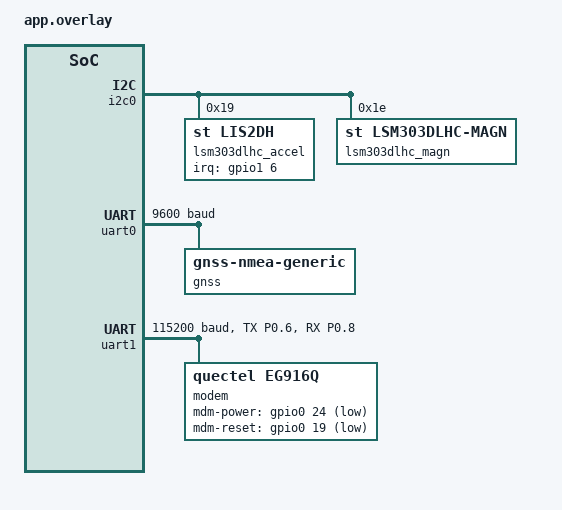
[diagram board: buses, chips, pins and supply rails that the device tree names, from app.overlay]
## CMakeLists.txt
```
# SPDX-License-Identifier: Apache-2.0

cmake_minimum_required(VERSION 3.20.0)

# Devicetree bindings for out-of-tree compatibles (quectel,eg916q) live
# under dts/bindings/ in this module. Must be set before find_package.
list(APPEND DTS_ROOT ${CMAKE_CURRENT_SOURCE_DIR})

find_package(Zephyr REQUIRED HINTS $ENV{ZEPHYR_BASE})
project(car_tracker CXX)

target_sources(app PRIVATE
  src/main.cpp
  src/channels.cpp
  src/tasks/ble_task.cpp
  src/tasks/gps_task.cpp
  src/tasks/supervisor_task.cpp
  src/services/selftest.cpp
  src/services/fw_update.cpp
)

# gps_task.cpp counts a GGA/RMC line as proof the GPS link is alive before the
# driver parses it (a receiver with no time/fix never reaches the gnss data
# callback). The wrap redirects the in-tree driver's match table to those hooks.
zephyr_ld_options(
  -Wl,--wrap=gnss_nmea0183_match_gga_callback
  -Wl,--wrap=gnss_nmea0183_match_rmc_callback
)

# fw_update.cpp calls bootutil's boot_set_next() to mark the inactive A/B slot
# pending; the library target also carries the bootutil/ include path.
if(CONFIG_MCUBOOT_BOOTUTIL_LIB)
  target_link_libraries(app PRIVATE MCUBOOT_BOOTUTIL)
endif()

# Out-of-tree EG916Q-GL modem driver. Compiled straight into the app target
# (rather than as a separate zephyr_library()) -- a plain add_subdirectory()
# from the app's own CMakeLists.txt does not reliably register a library
# into Zephyr's global whole-archive link list, so DEVICE_DT_INST_DEFINE's
# device struct silently never reached the final image. target_sources(app)
# is guaranteed to link, same as every other conditional source below.
if(CONFIG_MODEM_QUECTEL_EG916Q)
  target_sources(app PRIVATE drivers/modem/quectel_eg916q.c)
endif()

# Out-of-tree L3GD20 gyroscope driver, same compile-into-app pattern and for
# the same reason as the modem driver above. CONFIG_L3GD20 is only ever set
# when a devicetree node with compatible "st,l3gd20" exists AND CONFIG_SENSOR
# is on (see drivers/sensor/l3gd20/Kconfig). The GPS-only build leaves
# CONFIG_SENSOR off, so it never gets this driver.
if(CONFIG_L3GD20)
  target_sources(app PRIVATE drivers/sensor/l3gd20/l3gd20.c)
endif()

# IMU task (bench probe); needs the sensor drivers, so only with CONFIG_SENSOR.
if(CONFIG_SENSOR)
  target_sources(app PRIVATE src/tasks/imu_task.cpp src/services/spectrum.cpp)
endif()

# Idle sleep (System OFF, wake on the accelerometer interrupt).
if(CONFIG_CAR_TRACKER_IDLE_SLEEP)
  target_sources(app PRIVATE src/tasks/power_task.cpp)
endif()

# Cellular telemetry is compiled out entirely for the GPS-only bring-up build.
if(NOT CONFIG_CAR_TRACKER_GPS_ONLY)
  target_sources(app PRIVATE
    src/tasks/cellular_task.cpp
    src/services/modem_link.cpp
  )
endif()
```

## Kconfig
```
# Config options for the car_tracker application

mainmenu "Car GPS anti-theft tracker"

config CAR_TRACKER_GPS_ONLY
	bool "GPS-only bring-up test"
	default n
	help
	  Builds main() to just initialize GPS and log fixes to the console --
	  no cellular modem or MQTT code is compiled in at all. Use this for
	  hardware bring-up while only the NEO-6M is wired up, before the
	  cellular modem is connected. Flip back to n for the full tracker.

config CAR_TRACKER_BLE_TELEMETRY
	bool "Expose GPS speed and vibration frequency as GATT characteristics"
	default n
	depends on BT_PERIPHERAL
	select BT_SMP
	select BT_FIXED_PASSKEY
	help
	  Adds a custom GATT service with two read/notify characteristics: GPS
	  speed and the accelerometer's dominant vibration frequency (see
	  ble_task.cpp for the encoding).

	  SECURITY: speed is derived position data. Advertising is unauthenticated
	  broadcast and never carries it. These characteristics instead require an
	  authenticated, encrypted link (passkey pairing, below), for reads and for
	  notification subscription alike, so a stranger who merely connects
	  cannot read them. This relaxes the project's "no speed over BLE" rule
	  only as far as that protection holds -- it is only as strong as the
	  passkey is secret.

config CAR_TRACKER_BLE_PASSKEY
	int "Fixed pairing passkey (0-999999)"
	range 0 999999
	default 123456
	depends on CAR_TRACKER_BLE_TELEMETRY
	help
	  The 6-digit code a phone must be given to pair. A fixed value because
	  the device has no display or keypad. PLACEHOLDER: this default sits in
	  source control, so change it (and move it out of the repo) before the
	  device leaves the bench -- anyone who knows it can pair. It is never
	  logged.

config CAR_TRACKER_APP_LOGS
	bool "Log from the application's own modules"
	default y
	help
	  When disabled, every ct_* log module is compiled at level NONE, so
	  only other log sources (e.g. the thread analyzer) remain. Does not
	  affect Zephyr subsystems; set CONFIG_LOG_DEFAULT_LEVEL for those.

config CAR_TRACKER_IDLE_SLEEP
	bool "Enter System OFF after a period with no IMU motion"
	default n
	depends on SENSOR && HAS_POWEROFF
	select POWEROFF
	help
	  After kIdleSleepMs (app_config.hpp) without an
	  accelerometer motion interrupt, quiesce the peripherals and put the
	  nRF52840 into System OFF. The only wake source is the accelerometer's
	  INT1 line (P1.06); a wake is a full reboot through MCUboot. The device
	  refuses to sleep unless that wake source has been verified quiet and
	  armed, so a dead or unwired IMU can never leave it asleep for good.

	  Disable this while debugging: sleeping drops the USB console and the
	  SWD debug session along with everything else.

config CAR_TRACKER_MQTT_BROKER_HOSTNAME
	string "MQTT broker hostname or IP"
	default "mqtt3.thingspeak.com"
	help
	  ThingSpeak's MQTT broker. Port 1883 (plaintext) is also offered, but
	  TLS is used here regardless (see CAR_TRACKER_MQTT_BROKER_PORT).

config CAR_TRACKER_MQTT_BROKER_PORT
	int "MQTT broker port"
	default 8883
	help
	  8883 = MQTT over TLS. ThingSpeak also offers plaintext MQTT on 1883,
	  but a car tracker's location/telemetry data should never go out
	  unencrypted, so this stays on 8883 regardless of what the broker
	  permits.

config CAR_TRACKER_MQTT_USERNAME
	string "MQTT username"
	default "CHANGE_ME"
	help
	  ThingSpeak MQTT device credential. Required -- most brokers
	  (including ThingSpeak) reject CONNECT packets with no username/
	  password. PLACEHOLDER: set the real value via a local, non-committed
	  config overlay, not this default.

config CAR_TRACKER_MQTT_PASSWORD
	string "MQTT password"
	default "CHANGE_ME"
	help
	  ThingSpeak MQTT device credential (its API "MQTT Password"), paired
	  with CAR_TRACKER_MQTT_USERNAME above. PLACEHOLDER: set the real value
	  via a local, non-committed config overlay -- never put the live
	  credential in this Kconfig default, since it lives in source control.

config CAR_TRACKER_MQTT_CLIENT_ID
	string "MQTT client id"
	default "CHANGE_ME"
	help
	  ThingSpeak ties each MQTT device credential to a specific Client ID
	  (shown alongside the username/password in the ThingSpeak MQTT API
	  device settings) -- CONNECT is rejected if this doesn't match
	  exactly, regardless of whether the username/password are correct.

config CAR_TRACKER_MQTT_TOPIC
	string "MQTT publish topic"
	default "channels/3518381/publish"
	help
	  ThingSpeak's channel-write topic: "channels/<channel id>/publish".
	  The payload format ThingSpeak expects on this topic (field1=...&
	  field2=...&...) is built in cellular_task.cpp, not here -- this is
	  only the MQTT-level destination.

rsource "drivers/modem/Kconfig"

source "Kconfig.zephyr"

# Deliberately AFTER Kconfig.zephyr, unlike the modem driver above. This
# driver's `select I2C/SPI if $(dt_compat_on_bus,$(DT_COMPAT_ST_L3GD20),...)`
# uses a $(...) macro, which Kconfig expands eagerly at parse time, and
# DT_COMPAT_ST_L3GD20 is only defined once Kconfig.zephyr has pulled in the
# generated Kconfig.dts. Sourced any earlier, the variable is empty, the
# condition is silently false, CONFIG_SPI/CONFIG_I2C never get selected by
# this driver, and a node on a bus nothing else enabled fails at link time
# with an undefined __device_dts_ord_N for the bus controller. (Plain symbol
# references such as `depends on DT_HAS_..._ENABLED` resolve lazily and are
# unaffected -- only the $(...) form has this ordering requirement.)
rsource "drivers/sensor/l3gd20/Kconfig"
```

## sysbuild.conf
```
# Sysbuild: build MCUboot alongside the app as an A/B (direct-XIP) bootloader.
# See ../proMicro_bootloader/PLAN.md. Bootloader details live in
# ../proMicro_bootloader/mcuboot.conf (linked as sysbuild/mcuboot.conf).
SB_CONFIG_BOOTLOADER_MCUBOOT=y
SB_CONFIG_MCUBOOT_MODE_DIRECT_XIP_WITH_REVERT=y
# No secure boot yet: MCUboot checks the SHA-256 only, not a signature.
SB_CONFIG_BOOT_SIGNATURE_TYPE_NONE=y
```

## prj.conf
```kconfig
# Car GPS anti-theft tracker

# --- C++ (freestanding subset: no heap, no exceptions, no RTTI) ---
CONFIG_CPP=y
CONFIG_STD_CPP20=y
CONFIG_CPP_EXCEPTIONS=n
CONFIG_CPP_RTTI=n
# Selects the toolchain's libstdc++ *headers*, which is where the
# header-only facilities we use live (<type_traits>, <array>, <span>).
# Zephyr's MINIMAL_LIBCPP ships no standard headers at all. Enabling this
# does not oblige us to use the heap-backed containers -- the codebase
# stays statically allocated by design.
CONFIG_GLIBCXX_LIBCPP=y

# --- Inter-task messaging ---
CONFIG_ZBUS=y

# --- Hardware watchdog (owned by the supervisor task) ---
CONFIG_WATCHDOG=y
# Task watchdog on top of it: one channel per task, fed from the task's own
# loop (ct::supervisor::watch/feed), so a hung task resets the board. The
# hardware watchdog behind it gets MIN_TIMEOUT + HW_FALLBACK_DELAY = 10 s, which
# must equal ct::config::kWatchdogTimeoutMs (supervisor_task.cpp checks).
# Channels: supervisor, gps, ble, power, cellular, plus spares.
CONFIG_TASK_WDT=y
CONFIG_TASK_WDT_CHANNELS=8
CONFIG_TASK_WDT_MIN_TIMEOUT=8000
CONFIG_TASK_WDT_HW_FALLBACK_DELAY=2000

# --- Logging / console over USB CDC-ACM ---
# The board's devicetree points zephyr,console at board_cdc_acm_uart (see
# zephyr/boards/common/usb/cdc_acm_serial.dtsi), so logs come out of the Pro
# Micro's own USB port as a virtual serial device -- no SWD probe needed.
# Read it on macOS with e.g.  screen /dev/tty.usbmodem* 115200
# (uart0/uart1 are both claimed by GPS and the modem, so a pin UART console
# is not an option; the bring-up prj_*.conf builds use SEGGER RTT instead.)
CONFIG_LOG=y
# NOTE: deliberately NOT using CONFIG_LOG_MODE_IMMEDIATE. Immediate logging
# writes with interrupts disabled, which breaks the timing of the BLE
# software Link Layer (Zephyr build-asserts on this with several backends;
# see subsys/bluetooth/common/dummy.c). Deferred logging is the default.
#
# Same hazard, learned the hard way: if this build is ever switched to
# SEGGER RTT, CONFIG_LOG_BACKEND_RTT_MODE_DROP=y is mandatory. Zephyr's
# default (LOG_BACKEND_RTT_MODE_BLOCK) spins waiting for the host to drain
# the up-buffer with interrupts masked; with no RTT viewer attached the
# buffer fills during boot and that spin stalls the CPU for hundreds of ms,
# starving the BLE Link Layer and tripping
#   ASSERTION FAIL @ lll_adv.c: prepare_cb: Actual EVENT_OVERHEAD_START_US
# -> kernel oops -> halt -> watchdog reset -> boot loop. The bring-up
# prj_*.conf files use RTT and set MODE_DROP for exactly this reason.

# --- A/B bootloader (MCUboot, direct-XIP with revert) ---
# The app runs in place from slot0 (0x10000) or slot1 (0x84000); MCUboot at
# 0x0 picks the newest valid one. Built through sysbuild (sysbuild.conf) --
# see ../proMicro_bootloader/PLAN.md. The bootloader mode Kconfigs
# (CONFIG_BOOTLOADER_MCUBOOT, ...MODE_DIRECT_XIP_WITH_REVERT) are set by
# sysbuild, not here.
#
# imgtool --rom-fixed stamps the slot's flash address into the image header
# so MCUboot refuses an image uploaded to the wrong slot (each slot needs a
# differently linked image). This is the slot0 value; the slot1 variant is
# built with -DCONFIG_MCUBOOT_EXTRA_IMGTOOL_ARGS="--rom-fixed 0x84000"
# (see ../proMicro_bootloader/scripts/build_slot_b.sh).
CONFIG_MCUBOOT_EXTRA_IMGTOOL_ARGS="--rom-fixed 0x10000"
CONFIG_FLASH=y
CONFIG_FLASH_MAP=y
CONFIG_STREAM_FLASH=y
CONFIG_IMG_MANAGER=y
CONFIG_IMG_ERASE_PROGRESSIVELY=y
# boot_set_next() (fw_update.cpp marks the inactive slot pending with it).
CONFIG_MCUBOOT_BOOTUTIL_LIB=y
CONFIG_REBOOT=y

# --- Firmware update over USB (mcumgr/SMP on the same CDC-ACM port as the console) ---
CONFIG_NET_BUF=y
CONFIG_ZCBOR=y
CONFIG_CRC=y
CONFIG_BASE64=y
CONFIG_MCUMGR=y
CONFIG_MCUMGR_TRANSPORT_UART=y
# Logs and SMP share one port: the console driver passes mcumgr frames up to
# the SMP transport instead of dropping them. A log line emitted mid-transfer
# can corrupt a frame (the host retries); keep logging quiet while updating.
CONFIG_UART_CONSOLE_MCUMGR=y
CONFIG_MCUMGR_GRP_IMG=y
CONFIG_MCUMGR_GRP_OS=y
# Some mcumgr handlers need a bigger system workqueue stack.
CONFIG_SYSTEM_WORKQUEUE_STACK_SIZE=2304

# --- Ask MCUboot to stay in USB serial recovery (fw_update::reboot_to_recovery) ---
CONFIG_RETENTION=y
CONFIG_RETENTION_BOOT_MODE=y
CONFIG_RETAINED_MEM=y
CONFIG_RETAINED_MEM_NRF_GPREGRET=y

# --- GPS (u-blox NEO-6M via generic NMEA-over-UART driver) ---
CONFIG_GNSS=y
CONFIG_GNSS_NMEA_GENERIC=y
# NOTE: GNSS_SATELLITES and GNSS_DUMP_TO_LOG deliberately OFF -- see
# prj_gps_only.conf for why (log flooding once gps_task.cpp does its own
# per-fix reporting). satellites_cnt does not require GNSS_SATELLITES.

# --- Bluetooth LE: advertise as "car" (identification/debug aid only,
# not part of the telemetry path) ---
CONFIG_BT=y
CONFIG_BT_PERIPHERAL=y
CONFIG_BT_DEVICE_NAME="car"

# GPS speed and accelerometer vibration frequency as GATT characteristics, behind
# authenticated (passkey) pairing -- see ble_task.cpp's header for the security
# model. CONFIG_CAR_TRACKER_BLE_PASSKEY is a placeholder default: change it
# before this device leaves the bench. Not enabled in prj_gps_only.conf.
CONFIG_CAR_TRACKER_BLE_TELEMETRY=y

# Sleep (System OFF) after kIdleSleepMs without an accelerometer interrupt;
# the interrupt is the only wake source. This drops the USB console and any
# SWD debug session when it triggers -- set to n while debugging. See
# src/tasks/power_task.cpp.
CONFIG_CAR_TRACKER_IDLE_SLEEP=y

# Regulator framework for the optional switched 3.3 V line and modem rails (the
# rail_3v3/modem_vbat nodes in app.overlay, disabled until the hardware has
# switches). Inert without them.
CONFIG_REGULATOR=y

# --- Cellular (Quectel EG916Q-GL AT UART on uart1; the same module's GNSS
# UART is handled by the GNSS section above). Networking is entirely the
# module's own embedded TCP/IP + MQTT-over-TLS AT-command stack (AT+QIACT/
# AT+QMTOPEN/AT+QMTCONN/AT+QMTPUBEX/AT+QSSLCFG/AT+QFUPL) -- see
# drivers/modem/quectel_eg916q.c's header comment and
# quectel_eg800qeg91xq_series_{tcpip,mqtt}_application_note_v1-3.md. No PPP,
# no Zephyr net stack, no on-MCU TLS: none of CONFIG_NETWORKING/CONFIG_NET_*/
# CONFIG_MQTT_LIB/CONFIG_MBEDTLS/CONFIG_TLS_CREDENTIALS are needed, which is
# most of this build's earlier RAM footprint.
CONFIG_MODEM_QUECTEL_EG916Q=y
CONFIG_MODEM_QUECTEL_EG916Q_APN="internet"   # set to your SIM carrier's APN
# Needed by the in-tree GNSS driver (see gps_task.cpp's start()), not by the
# modem driver -- this modem does not participate in Zephyr's PM_DEVICE
# framework at all (see quectel_eg916q.c's header comment).
CONFIG_PM_DEVICE=y

# --- Motion sensors: LSM303DLHC accel + magnetometer, L3GD20 gyro (see the
# i2c0 nodes in app.overlay). CONFIG_SENSOR is what turns the drivers on;
# each pulls in I2C itself. Deliberately NOT in prj_gps_only.conf, which
# leaves the sensor subsystem off so none of this is compiled there.
CONFIG_SENSOR=y

# Accelerometer any-motion interrupt (INT1 -> P1.06). OWN_THREAD, not
# GLOBAL_THREAD: the driver's dispatch does blocking I2C (reading INT1_SRC to
# de-assert the latched line) before our handler runs, and on GLOBAL_THREAD
# that would occupy the shared system workqueue.
CONFIG_LIS2DH_TRIGGER_OWN_THREAD=y
# Priority 3 (default is 10, below every app thread incl. the LED): this
# thread services the motion interrupt, the anti-theft system's primary
# event and the sleep timer's restart signal -- short, bounded work (one
# I2C read + a zbus publish), so it belongs near the top of the app's
# deadline-monotonic priority order. See the table in app_config.hpp.
CONFIG_LIS2DH_THREAD_PRIORITY=3
# Mandatory for the interrupt to work at all: any-motion compares ABSOLUTE
# acceleration against the threshold, so without the on-chip high-pass filter
# ~1 g of gravity exceeds every usable threshold and INT1 stays asserted. This
# symbol exposes SENSOR_ATTR_CONFIGURATION, which writes CTRL_REG2 verbatim.
CONFIG_LIS2DH_ACCEL_HP_FILTERS=y
# Normal (10-bit) mode, not low-power: the driver's low-power scale quantises
# to ~15.6 mg per step, coarser than light vibration. +/-2 g.
CONFIG_LIS2DH_OPER_MODE_NORMAL=y
CONFIG_LIS2DH_ACCEL_RANGE_2G=y
# 100 Hz output data rate: sets the vibration analysis ceiling at 50 Hz
# (Nyquist) so an idling engine's ~27 Hz firing rate is well inside it. Must
# match ct::config::kImuVibrationSampleRateHz, which imu_task.cpp
# static_asserts. Also halves the interrupt duration unit (1 sample = 10 ms)
# and doubles the on-chip high-pass cutoff to ~2 Hz.
CONFIG_LIS2DH_ODR_5=y

# --- Stacks ---
CONFIG_MAIN_STACK_SIZE=4096

# App modules off, Zephyr subsystems default to off. Re-enable app logs with
# CAR_TRACKER_APP_LOGS=y and CONFIG_LOG_DEFAULT_LEVEL=3 once needed again.
CONFIG_CAR_TRACKER_APP_LOGS=n
CONFIG_LOG_DEFAULT_LEVEL=0
```

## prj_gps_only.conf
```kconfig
# GPS-only bring-up test build.
#
# Select with:
#   west build -p always -b promicro_nrf52840/nrf52840 --sysbuild -d build-gps-only . -- -DFILE_SUFFIX=gps_only
# (or scripts/build_ab.sh gps-only in ../proMicro_bootloader for both A/B slots)
#
# Standalone config (not layered on prj.conf): no cellular modem,
# networking, or MQTT config is enabled here, so those subsystems are not
# compiled or linked into this image at all -- just GPS init + console
# logging of fixes. Use this while only the NEO-6M is wired up.

CONFIG_CAR_TRACKER_GPS_ONLY=y

# --- C++ (freestanding subset: no heap, no exceptions, no RTTI) ---
CONFIG_CPP=y
CONFIG_STD_CPP20=y
CONFIG_CPP_EXCEPTIONS=n
CONFIG_CPP_RTTI=n
# Selects the toolchain's libstdc++ *headers* (<type_traits>, <array>,
# <span>); Zephyr's MINIMAL_LIBCPP ships none. Static allocation only --
# we do not use the heap-backed containers.
CONFIG_GLIBCXX_LIBCPP=y

# --- Inter-task messaging ---
CONFIG_ZBUS=y

# --- Hardware watchdog (owned by the supervisor task) ---
CONFIG_WATCHDOG=y
# Task watchdog -- mirror of prj.conf (see the comment there).
CONFIG_TASK_WDT=y
CONFIG_TASK_WDT_CHANNELS=8
CONFIG_TASK_WDT_MIN_TIMEOUT=8000
CONFIG_TASK_WDT_HW_FALLBACK_DELAY=2000

# Thread names in fault dumps / RTT output.
CONFIG_THREAD_NAME=y

# --- Logging / console ---
CONFIG_LOG=y
# NOTE: deliberately NOT using CONFIG_LOG_MODE_IMMEDIATE. Immediate logging
# writes with interrupts disabled, which breaks the timing of the BLE
# software Link Layer -- Zephyr hard-fails the build on this combination
# (see subsys/bluetooth/common/dummy.c). Deferred logging is the default.

# --- A/B bootloader (MCUboot, direct-XIP with revert) ---
# The app runs in place from slot0 (0x10000) or slot1 (0x84000); MCUboot at
# 0x0 picks the newest valid one. Built through sysbuild (sysbuild.conf) --
# see ../proMicro_bootloader/PLAN.md. The bootloader mode Kconfigs
# (CONFIG_BOOTLOADER_MCUBOOT, ...MODE_DIRECT_XIP_WITH_REVERT) are set by
# sysbuild, not here.
#
# imgtool --rom-fixed stamps the slot's flash address into the image header
# so MCUboot refuses an image uploaded to the wrong slot (each slot needs a
# differently linked image). This is the slot0 value; the slot1 variant is
# built with -DCONFIG_MCUBOOT_EXTRA_IMGTOOL_ARGS="--rom-fixed 0x84000"
# (see ../proMicro_bootloader/scripts/build_slot_b.sh).
CONFIG_MCUBOOT_EXTRA_IMGTOOL_ARGS="--rom-fixed 0x10000"
CONFIG_FLASH=y
CONFIG_FLASH_MAP=y
CONFIG_STREAM_FLASH=y
CONFIG_IMG_MANAGER=y
CONFIG_IMG_ERASE_PROGRESSIVELY=y
# boot_set_next() (fw_update.cpp marks the inactive slot pending with it).
CONFIG_MCUBOOT_BOOTUTIL_LIB=y
CONFIG_REBOOT=y

# --- Firmware update over USB (mcumgr/SMP on the board CDC-ACM port; logs go to RTT here) ---
CONFIG_NET_BUF=y
CONFIG_ZCBOR=y
CONFIG_CRC=y
CONFIG_BASE64=y
CONFIG_MCUMGR=y
CONFIG_MCUMGR_TRANSPORT_UART=y
CONFIG_MCUMGR_GRP_IMG=y
CONFIG_MCUMGR_GRP_OS=y
# Some mcumgr handlers need a bigger system workqueue stack.
CONFIG_SYSTEM_WORKQUEUE_STACK_SIZE=2304

# --- Ask MCUboot to stay in USB serial recovery (fw_update::reboot_to_recovery) ---
CONFIG_RETENTION=y
CONFIG_RETENTION_BOOT_MODE=y
CONFIG_RETAINED_MEM=y
CONFIG_RETAINED_MEM_NRF_GPREGRET=y

# --- GPS (u-blox NEO-6M via generic NMEA-over-UART driver) ---
CONFIG_GNSS=y
CONFIG_GNSS_NMEA_GENERIC=y
# NOTE: GNSS_SATELLITES (per-satellite tracking callback) and
# GNSS_DUMP_TO_LOG (driver's own verbose per-fix/per-satellite log dump)
# are deliberately OFF. They were useful before gps_task.cpp had its own
# fix-level logging, but the volume of a full satellite dump on every fix
# floods the RTT log pipeline and starves/corrupts our own ct_gps and
# ct_supervisor log output behind it. satellites_cnt (used in gps_task.cpp)
# is a plain field in gnss_info and does not require GNSS_SATELLITES.

# --- Bluetooth LE: advertise as "car" (identification/debug aid) ---
CONFIG_BT=y
CONFIG_BT_PERIPHERAL=y
CONFIG_BT_DEVICE_NAME="car"

# --- Console over SEGGER RTT (via the J-Link debug probe) ---
# The board's USB-CDC console needs the board's own USB cable AND a working
# USB stack; RTT gives us log output through the SWD probe alone, which is
# what we have connected. Read it with: JLinkRTTClient (or RTT Viewer).
CONFIG_USE_SEGGER_RTT=y
CONFIG_RTT_CONSOLE=y
CONFIG_LOG_BACKEND_RTT=y
CONFIG_LOG_BACKEND_UART=n
# MODE_DROP is mandatory, not a preference: the Zephyr default
# (LOG_BACKEND_RTT_MODE_BLOCK) spins waiting for the host to drain the
# up-buffer with interrupts masked. With no RTT viewer attached the buffer
# fills during boot and that spin stalls the CPU for hundreds of ms, which
# starves the BLE software Link Layer and trips an lll_adv.c assertion ->
# kernel oops -> halt -> watchdog reset -> boot loop. DROP never blocks.
CONFIG_LOG_BACKEND_RTT_MODE_DROP=y
CONFIG_SEGGER_RTT_BUFFER_SIZE_UP=4096
# CDC-ACM console waits 4s for logging at startup; not needed over RTT.
CONFIG_LOG_PROCESS_THREAD_STARTUP_DELAY_MS=0

# --- Stacks ---
CONFIG_MAIN_STACK_SIZE=2048
```

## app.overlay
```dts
/*
 * Car tracker board overlay for Pro Micro nRF52840.
 *
 * GPS (M1): NEO-6M on uart0 (enabled by the board) as a generic NMEA
 * device. NEO-6M wiring: GPS TX -> nRF RX, GPS RX -> nRF TX, common GND,
 * GPS VCC from 3.3V. uart0 uses the board's default pinctrl, P0.09 (TX) /
 * P0.10 (RX) -- these are also the NFC1/NFC2 pins, freed for GPIO/UART
 * use by the board's `nfct-pins-as-gpios` UICR setting.
 *
 * Cellular modem (M2): Quectel EG916Q-GL on uart1, added below. uart1 is
 * not enabled by the board by default, so both the peripheral and its
 * pinctrl states are defined here. Driven by the out-of-tree driver at
 * drivers/modem/quectel_eg916q.c. TX/RX only -- RTS/CTS are not wired on
 * this board, so hardware flow control is disabled.
 *
 * Pin selection: the pins below (P0.06/08, P0.19/24) are picked because
 * they are NOT claimed by anything else in this board's default
 * devicetree (uart0, i2c0, i2c1, spi2, pwm0/led0, the P0.18 reset pin,
 * or the P0.00/P0.01 32kHz crystal) and are not ADC-only pins -- P0.02/
 * 03/04/05/28-31 are left free for a future battery-voltage ADC input.
 * "promicro_nrf52840" covers several physically different clone boards
 * (see the board doc), so before wiring, confirm these nRF52840 GPIO
 * numbers against the silkscreen/pinout diagram for your specific board.
 */

/* A/B (direct-XIP) flash layout + retained boot-mode byte. Shared verbatim
 * with the MCUboot build -- see ../proMicro_bootloader/PLAN.md.
 */
#include <zephyr/dt-bindings/gpio/gpio.h>
#include <zephyr/dt-bindings/pinctrl/nrf-pinctrl.h>
#include "../proMicro_bootloader/dts/promicro_ab_partitions.dtsi"

/* Switchable supply rails, cut by the power task before System OFF (see
 * src/tasks/power_task.cpp) and brought back by the regulator driver at boot
 * (regulator-boot-on). Both DISABLED: the board has no switches yet, and a
 * disabled node costs nothing and claims no pin. When you add one, set
 * enable-gpios to the pin you wired and change status to "okay".
 *
 *   rail_3v3    the whole 3.3 V line fed from the MCU board's 3V3 pin to
 *               everything downstream of it (the GPS today). The accelerometer
 *               is NOT on it -- it has its own always-on supply, which is what
 *               lets this rail be cut at all, since the IMU is the wake source.
 *               The MCU stays powered: it is NOT fed through this switch.
 *   modem_vbat  the cellular module's VBAT, 3.3-4.3 V (3.8 V typical) with ~2 A
 *               transmit peaks.
 *
 * Hardware to add, one switch per rail:
 *   - A high-side load switch or P-channel MOSFET in series with the rail,
 *     enable input driven by the nRF pin, with an external pull-DOWN on that
 *     input so the rail stays off while the MCU is in reset or System OFF (the
 *     nRF holds a driven pin's level through System OFF, but a pin that is
 *     still floating during reset would glitch the rail on).
 *   - Modem: >= 3 A rating and low Rds(on); a drop at the switch browns the
 *     module out mid-transmit. Check what voltage you actually feed it.
 *   - 3V3 line: size it for everything downstream of it.
 * Nothing the MCU drives may still face a cut load: a pin left driving an
 * unpowered chip back-powers it through its input protection diode. The power
 * task already releases the GPS UART and modem UART/control pins; if you hang
 * anything else off the 3V3 line that has an MCU pin to it, add that pin to
 * cut_switched_rails() in power_task.cpp.
 * Consequences: the GPS loses its backup RAM (V_BCKP is on the same rail on
 * typical breakouts), so every wake is a cold start -- minutes to a first fix,
 * not seconds, unless V_BCKP has its own supply. The enable pins below are
 * placeholders: confirm them against your board's silkscreen first (P0.17 and
 * P0.15 are unused by everything else in this file).
 */
/ {
	rail_3v3: rail-3v3 {
		compatible = "regulator-fixed";
		regulator-name = "rail-3v3";
		enable-gpios = <&gpio0 17 GPIO_ACTIVE_HIGH>;
		regulator-boot-on;
		startup-delay-us = <50000>;
		status = "disabled";
	};

	modem_vbat: modem-vbat {
		compatible = "regulator-fixed";
		regulator-name = "modem-vbat";
		enable-gpios = <&gpio0 15 GPIO_ACTIVE_HIGH>;
		regulator-boot-on;
		startup-delay-us = <50000>;
		status = "disabled";
	};
};

/ {
	aliases {
		rail-3v3 = &rail_3v3;
		modem-power = &modem_vbat;
		gnss = &gnss;
		modem = &modem;
		accel0 = &lsm303dlhc_accel;
		magn0 = &lsm303dlhc_magn;
		gyro0 = &l3gd20;
	};
};

/* Motion sensors (M3): LSM303DLHC accelerometer + magnetometer and an L3GD20
 * gyroscope, all on the board's i2c0 (SDA P1.00, SCL P0.11), which the board
 * enables and nothing else used. On nRF52840 TWIM0 shares no peripheral ID
 * with UARTE0 (id 2) or UARTE1 (id 40), so GPS and the modem are unaffected.
 * Addresses: accel 0x19 and magnetometer 0x1E are fixed by the part; the
 * gyro is 0x6A with its SDO pin tied low, 0x6B tied high -- match whichever
 * your breakout does.
 *
 * Accel INT1 is on P1.06. The board assigns that pin to i2c1 as its SCL, and
 * i2c1's pinctrl is applied at boot whether or not anything uses the bus, so
 * i2c1 is disabled here -- nothing uses it, and without this it would
 * reclaim P1.06 from the interrupt input. (Also frees P1.04, its SDA.)
 *
 * The accelerometer node must list "st,lis2dh" first: the driver matches
 * that compatible, and with only "st,lsm303dlhc-accel" it never binds.
 */
&i2c1 {
	status = "disabled";
};

&i2c0 {
	status = "okay";

	lsm303dlhc_accel: lsm303dlhc-accel@19 {
		compatible = "st,lis2dh", "st,lsm303dlhc-accel";
		reg = <0x19>;
		irq-gpios = <&gpio1 6 GPIO_ACTIVE_HIGH>;
		anym-on-int1;
		/* 3 == LEVEL_HIGH. With anym-on-int1 the driver binds irq-gpios[0]
		 * to its "INT2" code path and takes the GPIO mode from
		 * int2-gpio-config (lis2dh_trigger.c), so int1-gpio-config would
		 * be silently ignored. Level, not edge: the driver re-arms without
		 * reading INT1_SRC, so a line already latched high at re-arm has no
		 * new edge and an edge-triggered input would never fire again.
		 */
		int2-gpio-config = <3>;
		status = "okay";
	};

	lsm303dlhc_magn: lsm303dlhc-magn@1e {
		compatible = "st,lsm303dlhc-magn";
		reg = <0x1e>;
		status = "okay";
	};

	/* Gyro disabled for now: its driver failed to init on first power-up
	 * (accel and magnetometer on the same bus were fine), cause not yet
	 * diagnosed -- wiring, the 0x6A/0x6B SDO strap, or WHO_AM_I. Node kept so
	 * re-enabling is a one-word change; with it disabled CONFIG_L3GD20
	 * drops out and imu_task.cpp skips it.
	 */
	l3gd20: l3gd20@6a {
		compatible = "st,l3gd20";
		reg = <0x6a>;
		status = "disabled";
	};
};

&uart0 {
	status = "okay";
	current-speed = <9600>;   /* NEO-6M factory default */
	pinctrl-names = "default", "sleep";

	gnss: gnss-nmea-generic {
		compatible = "gnss-nmea-generic";
	};
};

&pinctrl {
	uart1_default: uart1_default {
		group1 {
			psels = <NRF_PSEL(UART_TX, 0, 6)>;
		};
		group2 {
			psels = <NRF_PSEL(UART_RX, 0, 8)>;
			bias-pull-up;
		};
	};

	uart1_sleep: uart1_sleep {
		group1 {
			psels = <NRF_PSEL(UART_TX, 0, 6)>,
				<NRF_PSEL(UART_RX, 0, 8)>;
			low-power-enable;
		};
	};
};

&uart1 {
	compatible = "nordic,nrf-uarte";
	status = "okay";
	current-speed = <115200>;
	pinctrl-0 = <&uart1_default>;
	pinctrl-1 = <&uart1_sleep>;
	pinctrl-names = "default", "sleep";

	modem: modem {
		compatible = "quectel,eg916q";
		/* Same nRF GPIO pin numbers as the SARA-R5 this replaces --
		 * confirm against the EG916Q-GL carrier board's actual wiring
		 * before powering anything up (see this file's header comment
		 * on pin selection). PWRKEY polarity confirmed active-low
		 * against the EG916Q-GL hardware design manual. RESET_N is
		 * assumed active-low by "_N" naming convention, not yet
		 * independently confirmed the same way -- check before relying
		 * on it.
		 */
		mdm-power-gpios = <&gpio0 24 GPIO_ACTIVE_LOW>;
		mdm-reset-gpios = <&gpio0 19 GPIO_ACTIVE_LOW>;
		status = "okay";
	};
};
```

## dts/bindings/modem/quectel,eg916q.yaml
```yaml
description: |
  Quectel EG916Q-GL LTE Cat 1 + GNSS modem, AT/PPP UART.

  This binds only the module's AT/PPP UART (used for cellular). The
  module's separate, dedicated GNSS UART is unrelated to this binding --
  it streams plain NMEA-0183 and is described by the in-tree
  gnss-nmea-generic binding instead, same as it was for the NEO-6M this
  module replaced.

compatible: "quectel,eg916q"

include: uart-device.yaml

properties:
  mdm-power-gpios:
    type: phandle-array
    required: true
    description: |
      PWRKEY pin. Pulsed active for CONFIG_MODEM_QUECTEL_EG916Q_POWER_PULSE_MS
      to power the module on; driven inactive to power it off.

  mdm-reset-gpios:
    type: phandle-array
    description: |
      Optional RESET_N pin for a hard reset. Not driven during normal
      power-on/power-off; the driver only configures it as an inactive
      output at init.
```

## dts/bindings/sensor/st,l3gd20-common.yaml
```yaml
# SPDX-License-Identifier: Apache-2.0

description: |
    Properties shared by the I2C and SPI flavours of the STMicroelectronics
    L3GD20 3-axis gyroscope (see st,l3gd20-i2c.yaml / st,l3gd20-spi.yaml).

    I2C address is 0x6A with the SDO pin low, 0x6B with it high.

    Not supported by this binding: the L3GD20H (WHO_AM_I 0xD7, different
    register layout) and the I3G4250D (WHO_AM_I 0xD3; has its own in-tree
    driver, compatible "st,i3g4250d"). The driver rejects both at probe time.

include: sensor-device.yaml

properties:
  gyro-range-dps:
    type: int
    default: 250
    enum: [250, 500, 2000]
    description: |
      Initial full-scale range in degrees per second. Sensitivity is
      8.75 / 17.5 / 70 mdps per LSB respectively, so the narrowest range
      that covers the expected rotation rate gives the best resolution.
      Can be changed at runtime with SENSOR_ATTR_FULL_SCALE.

  gyro-odr-hz:
    type: int
    default: 95
    enum: [95, 190, 380, 760]
    description: |
      Initial output data rate in Hz. The low-pass bandwidth is always set
      to the device's widest setting for the chosen rate (25 / 70 / 100 /
      100 Hz respectively), so the cutoff tracks the rate rather than being
      configured separately. Can be changed at runtime with
      SENSOR_ATTR_SAMPLING_FREQUENCY.
```

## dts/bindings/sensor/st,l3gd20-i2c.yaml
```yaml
# SPDX-License-Identifier: Apache-2.0

description: STMicroelectronics L3GD20 3-axis gyroscope accessed through I2C

compatible: "st,l3gd20"

include: ["i2c-device.yaml", "st,l3gd20-common.yaml"]
```

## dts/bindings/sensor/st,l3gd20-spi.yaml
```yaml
# SPDX-License-Identifier: Apache-2.0

description: |
    STMicroelectronics L3GD20 3-axis gyroscope accessed through SPI

    4-wire SPI mode 3 (CPOL=1, CPHA=1), MSB first, up to 10 MHz. The 3-wire
    mode (CTRL_REG4.SIM) is not supported.

compatible: "st,l3gd20"

include: ["spi-device.yaml", "st,l3gd20-common.yaml"]
```

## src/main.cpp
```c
/*
 * Car GPS anti-theft tracker -- entry point.
 *
 * Architecture
 * ------------
 * Four cooperating tasks exchanging immutable messages over zbus channels.
 * No task references another, and no application state is shared between
 * threads, so there are no application-level locks:
 *
 *      [GNSS driver cb] -> msgq -> (GPS task) --chan_gps_fix----+--> (BLE)
 *                                             --chan_motion_state-+-> (BLE)
 *                                                                 +-> (Cellular)
 *
 *      (Cellular) --chan_link_state--> (BLE)
 *
 *      (IMU) --chan_vibration--> (BLE)        [only with CONFIG_SENSOR]
 *      (IMU) --chan_imu_motion--> (Power)     [only with CONFIG_CAR_TRACKER_IDLE_SLEEP]
 *      (Cellular) ==cell_active mutex==> (Power)  held per modem session; Power
 *                                                 waits for it before sleeping
 *
 * Cellular reads chan_gps_fix directly (zbus_chan_read(), not a
 * subscription) when its own publish scheduler decides a publish is due --
 * see cellular_task.cpp. Supervisor touches no channel at all.
 *
 * Separation of concerns:
 *   GPS        - acquisition, plus its own motion debounce (it already has
 *                every fix in hand as it arrives)
 *   Cellular   - decides when to publish (cadence + retry/backoff) *and*
 *                executes it; owns all long blocking I/O
 *   BLE        - identification/status; never broadcasts location (see ble_task.cpp)
 *   Supervisor - the watchdog only; each task above registers a channel with it
 *                and feeds it from its own loop, so a hung task resets the SoC
 *
 * Memory: everything is statically allocated (thread stacks, queues, channel
 * storage). No heap, no exceptions, no RTTI -- see prj.conf.
 *
 * CONFIG_CAR_TRACKER_GPS_ONLY compiles out the cellular task and its services
 * entirely for hardware bring-up with only the GPS attached.
 *
 * A boot-time self-test (src/services/selftest.cpp) verifies the MCU can
 * talk to the GPS (NMEA presence) and cellular modem (AT/OK) before their
 * tasks do real work, signaling pass/fail on the onboard LED. It can block
 * main() for tens of seconds (modem power-on alone is up to ~20s, plus AT
 * retries), so the supervisor -- and therefore the watchdog -- is started
 * *before* it, not after, so the watchdog is live for the entire self-test
 * window instead of only once it finishes.
 */

#include <zephyr/kernel.h>
#include <zephyr/logging/log.h>
#include <zephyr/sys/reboot.h>

#include "app_config.hpp"
#include "services/fw_update.hpp"
#include "services/selftest.hpp"
#include "tasks/ble_task.hpp"
#include "tasks/gps_task.hpp"
#if defined(CONFIG_SENSOR)
#include "tasks/imu_task.hpp"
#if defined(CONFIG_CAR_TRACKER_IDLE_SLEEP)
#include "tasks/power_task.hpp"
#endif
#endif
#include "tasks/supervisor_task.hpp"
#if !defined(CONFIG_CAR_TRACKER_GPS_ONLY)
#include "tasks/cellular_task.hpp"
#endif

LOG_MODULE_REGISTER(ct_main, CT_LOG_LEVEL);

int main()
{
	LOG_INF("car_tracker starting (%s build) fw=%s",
		IS_ENABLED(CONFIG_CAR_TRACKER_GPS_ONLY) ? "GPS-only" : "full",
		ct::config::kFirmwareVersion);

	/* First of all: it arms the watchdog, and every other task registers its
	 * own watchdog channel as it starts, so the watchdog has to exist before
	 * any of them. It also keeps the watchdog live and fed for the entire
	 * (blocking, potentially tens-of-seconds) self-test below. It has no
	 * dependency on GPS/cellular -- it doesn't touch zbus at all.
	 */
	ct::supervisor::start();

	/* BLE next and unconditionally: it is an independent identification
	 * aid, so it must not be gated behind GPS or cellular coming up.
	 */
	if (const int err = ct::ble::start(); err != 0) {
		LOG_WRN("BLE unavailable (%d); continuing", err);
	}

	/* Started before the self-test, not after: start() is what resumes the
	 * GNSS device (see the PM_DEVICE note there), and until that happens
	 * uart0 RX is never opened and the self-test's NMEA-line check could only
	 * ever time out. Starting the task early is safe -- its loop parks on
	 * the self-test gate, which is the whole point of gating the loop
	 * rather than the thread creation.
	 */
	if (const int err = ct::gps::start(); err != 0) {
		LOG_ERR("GPS unavailable (%d); tracking degraded", err);
	}

#if !defined(CONFIG_CAR_TRACKER_GPS_ONLY)
	/* Same deal: the loop parks on the gate until the self-test passes. */
	ct::cellular::start();
#endif

#if defined(CONFIG_SENSOR)
	/* Temporary bench probe for the I2C motion sensors. Deliberately outside
	 * the self-test gate: a sensor that is absent or miswired must not be
	 * able to park GPS and cellular. See imu_task.cpp.
	 */
	ct::imu::start();
#endif

#if defined(CONFIG_CAR_TRACKER_IDLE_SLEEP)
	/* After the IMU: it is the only wake source, and the power task refuses
	 * to sleep without it. Not gated by the self-test either, but it does
	 * wait for the self-test to finish before sleeping. See power_task.cpp.
	 */
	ct::power::start();
#endif

	/* Blocks until the GPS/cellular liveness check finishes, then releases
	 * the task loops above (or not, on failure -- see selftest.cpp).
	 */
	const bool healthy = ct::selftest::run();

	/* A/B update gate: a freshly updated image is only a *trial* until it
	 * confirms itself here. If the self-test failed we deliberately do not
	 * confirm -- MCUboot reverts to the previous image on the next reset
	 * (the watchdog, or a crash before this point, takes the same path).
	 * An already-confirmed image (e.g. the one flashed over SWD) is a no-op.
	 */
	if (healthy) {
		ct::fw_update::confirm_if_trial();
	} else if (ct::fw_update::is_trial()) {
		LOG_ERR("self-test failed on an unconfirmed image; rebooting to revert");
		k_sleep(K_MSEC(200));
		sys_reboot(SYS_REBOOT_COLD);
	}

	/* All work happens in the tasks above. main() has no runtime role, so
	 * let its thread terminate rather than burn a stack spinning.
	 */
	return 0;
}
```

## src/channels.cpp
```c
/*
 * zbus channel definitions.
 *
 * The observer lists here are the single authoritative description of which
 * task consumes what. Subscriber symbols themselves are defined by each task
 * (ZBUS_SUBSCRIBER_DEFINE); ZBUS_CHAN_DEFINE emits the extern declarations
 * for them, so no cross-task headers are needed.
 */

#include "channels.hpp"

#include "app_config.hpp"

ZBUS_CHAN_DEFINE(chan_gps_fix,          /* channel name */
		 ct::GpsFix,            /* message type */
		 nullptr,               /* validator */
		 nullptr,               /* user data */
		 ZBUS_OBSERVERS(ble_sub),
		 ZBUS_MSG_INIT(0));

#if defined(CONFIG_CAR_TRACKER_GPS_ONLY)
ZBUS_CHAN_DEFINE(chan_motion_state,
		 ct::MotionState,
		 nullptr,
		 nullptr,
		 ZBUS_OBSERVERS(ble_sub),
		 ZBUS_MSG_INIT(0));
#else
ZBUS_CHAN_DEFINE(chan_motion_state,
		 ct::MotionState,
		 nullptr,
		 nullptr,
		 ZBUS_OBSERVERS(ble_sub, cellular_sub),
		 ZBUS_MSG_INIT(0));

ZBUS_CHAN_DEFINE(chan_link_state,
		 ct::LinkState,
		 nullptr,
		 nullptr,
		 ZBUS_OBSERVERS(ble_sub),
		 ZBUS_MSG_INIT(0));

#endif /* !CONFIG_CAR_TRACKER_GPS_ONLY */

/* Orthogonal to the GPS-only split above: it exists whenever the sensor
 * subsystem (and therefore the IMU task) is built.
 */
#if defined(CONFIG_SENSOR)
ZBUS_CHAN_DEFINE(chan_vibration,
		 ct::VibrationState,
		 nullptr,
		 nullptr,
		 ZBUS_OBSERVERS(ble_sub),
		 ZBUS_MSG_INIT(0));

#if defined(CONFIG_CAR_TRACKER_IDLE_SLEEP)
ZBUS_CHAN_DEFINE(chan_imu_motion,
		 ct::ImuMotion,
		 nullptr,
		 nullptr,
		 ZBUS_OBSERVERS(power_motion_lis),
		 ZBUS_MSG_INIT(0));
#endif
#endif /* CONFIG_SENSOR */
```

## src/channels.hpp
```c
/*
 * zbus channel declarations.
 *
 * Tasks communicate exclusively through these channels -- no task holds a
 * reference to another task, and there is no shared mutable state between
 * threads, so the design needs no application-level mutexes. Adding a new
 * consumer means subscribing to a channel, not editing the producer.
 */

#pragma once

#include <zephyr/zbus/zbus.h>

#include "messages.hpp"

/* Channels are C symbols emitted by the zbus macros; declare them outside
 * any namespace so the names match their definitions in channels.cpp.
 */

/* Every accepted GNSS sample (including "no fix" reports).
 * Published by: GPS task. Observed by: BLE. (Cellular reads it directly,
 * via zbus_chan_read(), when its own publish scheduler decides a publish is
 * due -- observing it would just wake the cellular thread on every fix for
 * no reason, since it only ever wants the *latest* value at its own pace.)
 */
ZBUS_CHAN_DECLARE(chan_gps_fix);

/* Debounced moving/parked verdict.
 * Published by: GPS task. Observed by: BLE, and (outside
 * CONFIG_CAR_TRACKER_GPS_ONLY) cellular -- it resets its retry/backoff state
 * when the car stops, and gates publishing on it if kPublishRequireMoving is
 * enabled (see app_config.hpp).
 */
ZBUS_CHAN_DECLARE(chan_motion_state);

#if defined(CONFIG_SENSOR)

/* Dominant vibration frequency of the latest accelerometer capture.
 * Published by: IMU task. Observed by: BLE.
 * Only exists when the sensor subsystem is on (CONFIG_SENSOR), i.e. not in
 * the GPS-only build.
 */
ZBUS_CHAN_DECLARE(chan_vibration);

#if defined(CONFIG_CAR_TRACKER_IDLE_SLEEP)
/* Every accelerometer any-motion interrupt.
 * Published by: IMU task. Observed by: power task.
 */
ZBUS_CHAN_DECLARE(chan_imu_motion);
#endif

#endif /* CONFIG_SENSOR */

#if !defined(CONFIG_CAR_TRACKER_GPS_ONLY)

/* WAN link up/down.
 * Published by: cellular. Observed by: BLE, and the power task when
 * CONFIG_CAR_TRACKER_IDLE_SLEEP is on (it must not sleep mid-modem-session).
 */
ZBUS_CHAN_DECLARE(chan_link_state);

#endif /* !CONFIG_CAR_TRACKER_GPS_ONLY */
```

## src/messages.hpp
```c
/*
 * Message types carried on the zbus channels.
 *
 * These are deliberately plain aggregates (trivially copyable, no pointers,
 * no ownership): zbus moves messages by value with memcpy, so anything with
 * a non-trivial copy constructor or an owning pointer would be unsafe here.
 * static_asserts below enforce that at compile time rather than leaving it
 * to reviewer discipline.
 */

#pragma once

#include <cstdint>
#include <type_traits>

namespace ct {

/* A GNSS position/velocity sample. Units match Zephyr's navigation_data so
 * no lossy conversion happens on the acquisition path; formatting to
 * human/JSON units is done once, at the point of publishing.
 */
struct GpsFix {
	std::int64_t latitude_ndeg;   /* nanodegrees */
	std::int64_t longitude_ndeg;  /* nanodegrees */
	std::int32_t altitude_mm;     /* mm above MSL */
	std::uint32_t speed_mms;      /* mm/s */
	std::uint32_t bearing_mdeg;   /* millidegrees */
	std::uint32_t uptime_s;       /* device uptime when sampled */
	std::uint16_t satellites;
	bool valid;                   /* false => no fix; other fields meaningless */
};

/* Debounced motion verdict. Owned by the GPS task: it already has every fix
 * in hand as it arrives, so the debounce lives right next to the data it
 * debounces rather than being re-derived by a separate consumer. Whether
 * this verdict should *gate* anything (e.g. a telemetry publish) is a
 * separate policy question left to whoever consumes it.
 */
struct MotionState {
	bool moving;
};

/* Result of one accelerometer vibration capture (a 2.56 s FFT window).
 * Owned by the IMU task. Published once per window, so roughly every 2.6 s.
 * Distinct from MotionState: that is speed-derived (GPS), this is
 * vibration-derived (accelerometer) and says nothing about whether the car
 * is moving.
 */
struct VibrationState {
	bool significant;                /* false => too still to name a frequency */
	std::uint32_t freq_mhz;          /* dominant frequency, millihertz; valid iff significant */
	std::uint32_t peak_share_pct;    /* % of non-DC power in the dominant bin +/-1 */
	std::int32_t rms_mms2;           /* gravity-removed RMS over all axes, mm/s^2 */
};

/* Cellular -> observers: current WAN link state. `connected` is true for as
 * long as the cellular task is using the modem (one whole attempt, including
 * power-up and power-down), which is also what the power task reads as "do
 * not sleep now".
 */
struct LinkState {
	bool connected;
};

/* IMU -> observers: the accelerometer's any-motion interrupt fired. The
 * payload is only a timestamp; the event itself is the information. Consumed
 * by the power task to measure inactivity.
 */
struct ImuMotion {
	std::uint32_t uptime_ms;
};

/* zbus copies messages byte-wise; guarantee that is well-defined. */
static_assert(std::is_trivially_copyable_v<GpsFix>);
static_assert(std::is_trivially_copyable_v<MotionState>);
static_assert(std::is_trivially_copyable_v<VibrationState>);
static_assert(std::is_trivially_copyable_v<LinkState>);
static_assert(std::is_trivially_copyable_v<ImuMotion>);

} /* namespace ct */
```
